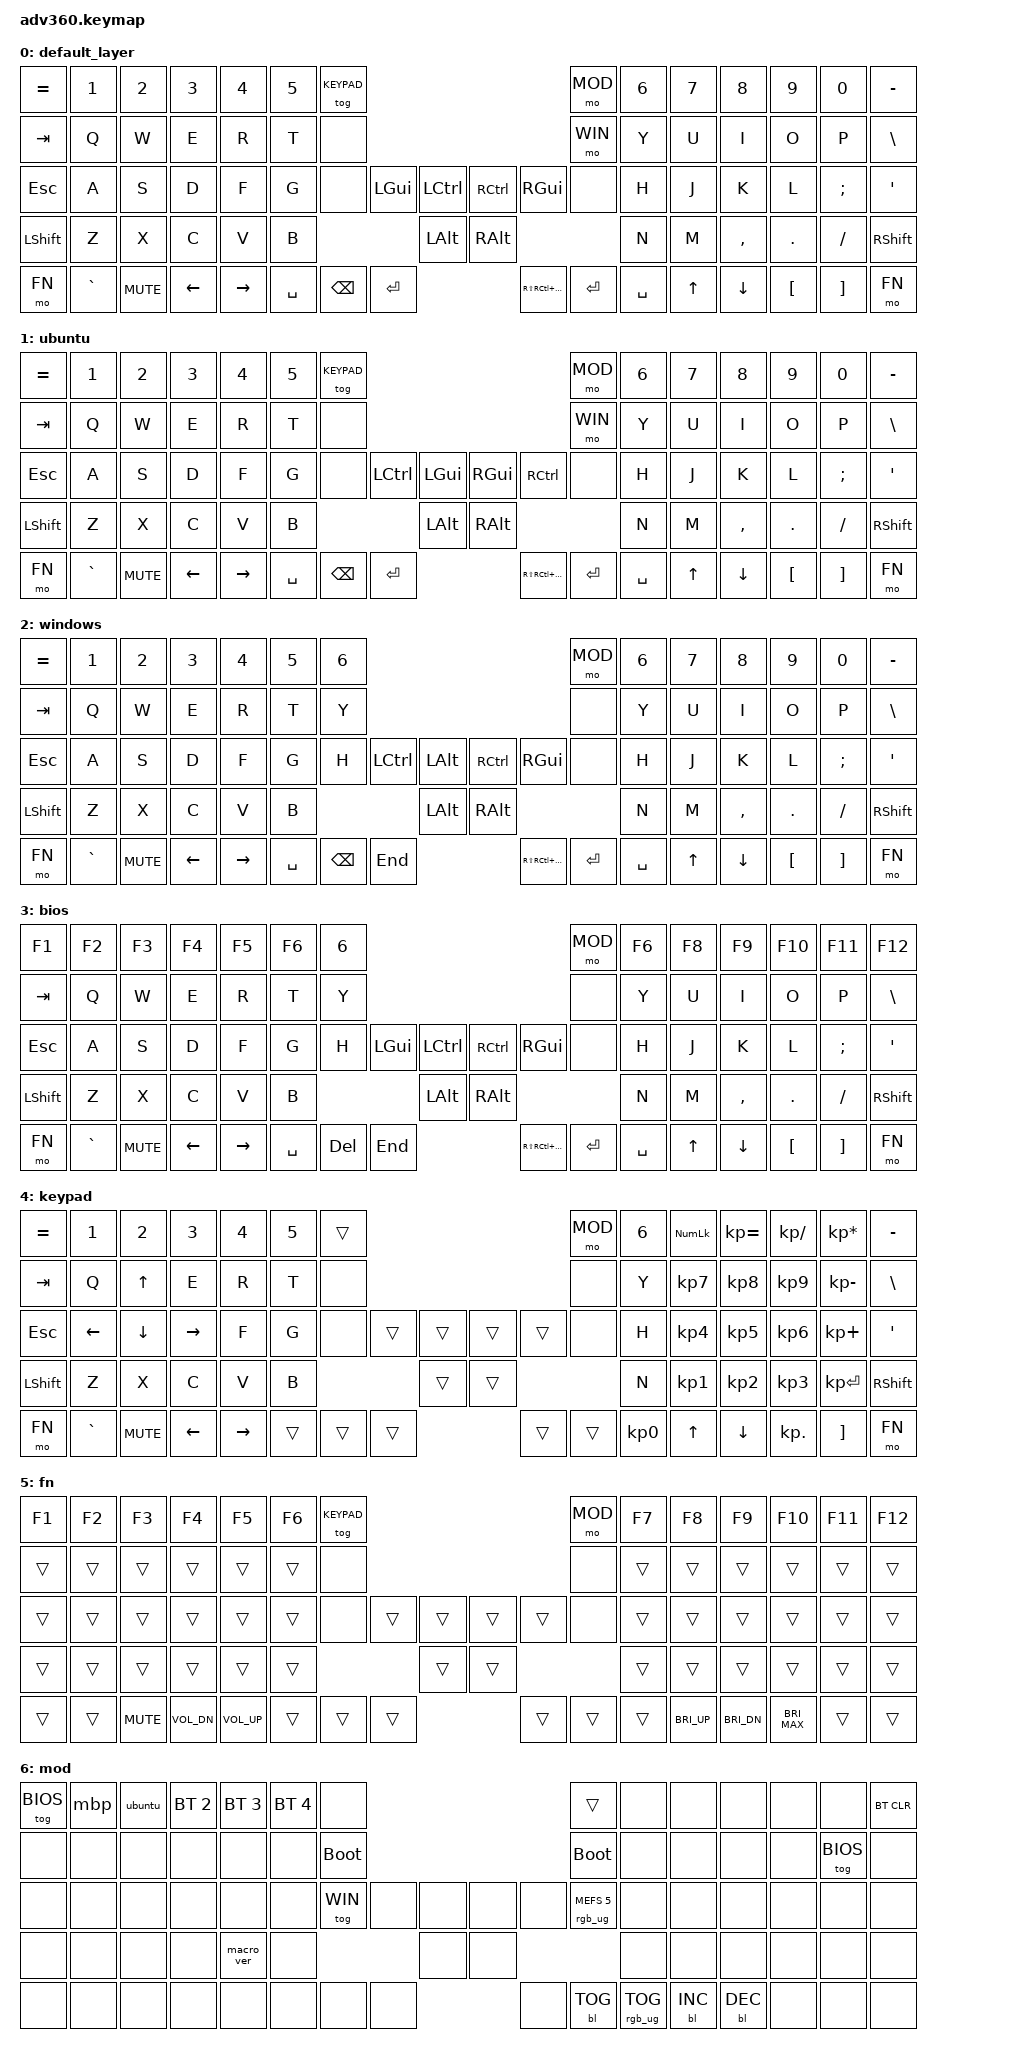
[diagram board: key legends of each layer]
#include <behaviors.dtsi>
#include <dt-bindings/zmk/keys.h>
#include <dt-bindings/zmk/bt.h>
#include <dt-bindings/zmk/rgb.h>
#include <dt-bindings/zmk/backlight.h>


#define DEFAULT 0
#define UBUNTU  1
#define WIN     2
#define BIOS    3
#define KEYPAD  4
#define FN      5
#define MOD     6

#define HYP     RS(RC(RA(RGUI)))

/ {
    behaviors {
      #include "macros.dtsi"
      #include "version.dtsi"
      #ifndef VERSION_MACRO
      macro_ver: macro_ver {
        compatible = "zmk,behavior-macro";
        label = "macro_version";
        #binding-cells = <0>;
        bindings = <&kp RET>;
      };
      #endif

      hm: homerow_mods {
          compatible = "zmk,behavior-hold-tap";
          label = "HOMEROW_MODS";
          #binding-cells = <2>;
          tapping-term-ms = <200>;
          quick_tap_ms = <175>;
          flavor = "tap-preferred";
          bindings = <&kp>, <&kp>;
      };
    };


  keymap {
    compatible = "zmk,keymap";

    default_layer {
      bindings = <
        &kp EQUAL &kp N1    &kp N2      &kp N3   &kp N4     &kp N5 &tog KEYPAD                                                          &mo MOD &kp N6 &kp N7 &kp N8    &kp N9   &kp N0   &kp MINUS
        &kp TAB   &kp Q     &kp W       &kp E    &kp R      &kp T  &none                                                                &mo WIN &kp Y  &kp U  &kp I     &kp O    &kp P    &kp BSLH
        &kp ESC   &kp A     &kp S       &kp D    &kp F      &kp G  &none           &kp LGUI  &kp LCTRL  &kp RCTRL  &kp RGUI             &none   &kp H  &kp J  &kp K     &kp L    &kp SEMI &kp SQT
        &kp LSHFT &kp Z     &kp X       &kp C    &kp V      &kp B                            &kp LALT   &kp RALT                                &kp N  &kp M  &kp COMMA &kp DOT  &kp FSLH &kp RSHFT
        &mo FN    &kp GRAVE &kp C_MUTE  &kp LEFT &kp RIGHT               &kp SPACE &kp BSPC  &kp ENTER  &kp HYP    &kp ENTER &kp SPACE                 &kp UP &kp DOWN  &kp LBKT &kp RBKT &mo FN
      >;
    };
    ubuntu {
      bindings = <
        &kp EQUAL &kp N1    &kp N2      &kp N3   &kp N4     &kp N5 &tog KEYPAD                                                          &mo MOD &kp N6 &kp N7 &kp N8    &kp N9   &kp N0   &kp MINUS
        &kp TAB   &kp Q     &kp W       &kp E    &kp R      &kp T  &none                                                                &mo WIN &kp Y  &kp U  &kp I     &kp O    &kp P    &kp BSLH
        &kp ESC   &kp A     &kp S       &kp D    &kp F      &kp G  &none            &kp LCTRL &kp LGUI   &kp RGUI   &kp RCTRL            &none   &kp H  &kp J  &kp K     &kp L    &kp SEMI &kp SQT
        &kp LSHFT &kp Z     &kp X       &kp C    &kp V      &kp B                             &kp LALT   &kp RALT                                &kp N  &kp M  &kp COMMA &kp DOT  &kp FSLH &kp RSHFT
        &mo FN    &kp GRAVE &kp C_MUTE  &kp LEFT &kp RIGHT                &kp SPACE &kp BSPC  &kp ENTER  &kp HYP    &kp ENTER &kp SPACE                 &kp UP &kp DOWN  &kp LBKT &kp RBKT &mo FN
      >;
    };
    windows {
      bindings = <
        &kp EQUAL &kp N1    &kp N2     &kp N3   &kp N4     &kp N5 &kp 6                                                                   &mo MOD &kp N6 &kp N7 &kp N8    &kp N9   &kp N0   &kp MINUS
        &kp TAB   &kp Q     &kp W      &kp E    &kp R      &kp T  &kp Y                                                                   &none   &kp Y  &kp U  &kp I     &kp O    &kp P    &kp BSLH
        &kp ESC   &kp A     &kp S      &kp D    &kp F      &kp G  &kp H              &kp LCTRL &kp LALT   &kp RCTRL  &kp RGUI             &none   &kp H  &kp J  &kp K     &kp L    &kp SEMI &kp SQT
        &kp LSHFT &kp Z     &kp X      &kp C    &kp V      &kp B                               &kp LALT   &kp RALT                                &kp N  &kp M  &kp COMMA &kp DOT  &kp FSLH &kp RSHFT
        &mo FN    &kp GRAVE &kp C_MUTE &kp LEFT &kp RIGHT                &kp SPACE   &kp BSPC  &kp END    &kp HYP    &kp ENTER &kp SPACE                 &kp UP &kp DOWN  &kp LBKT &kp RBKT &mo FN
      >;
    };
    bios {
      bindings = <
        &kp F1    &kp F2    &kp F3     &kp F4   &kp F5     &kp F6 &kp 6                                                               &mo MOD &kp F6 &kp F8 &kp F9    &kp F10   &kp F11  &kp F12
        &kp TAB   &kp Q     &kp W      &kp E    &kp R      &kp T  &kp Y                                                               &none   &kp Y  &kp U  &kp I     &kp O     &kp P    &kp BSLH
        &kp ESC   &kp A     &kp S      &kp D    &kp F      &kp G  &kp H              &kp LGUI  &kp LCTRL  &kp RCTRL  &kp RGUI         &none   &kp H  &kp J  &kp K     &kp L     &kp SEMI &kp SQT
        &kp LSHFT &kp Z     &kp X      &kp C    &kp V      &kp B                               &kp LALT   &kp RALT                            &kp N  &kp M  &kp COMMA &kp DOT   &kp FSLH &kp RSHFT
        &mo FN    &kp GRAVE &kp C_MUTE &kp LEFT &kp RIGHT                &kp SPACE   &kp DEL   &kp END    &kp HYP    &kp ENTER &kp SPACE             &kp UP &kp DOWN  &kp LBKT  &kp RBKT &mo FN
      >;
    };
    keypad {
      bindings = <
        &kp EQUAL &kp N1    &kp N2     &kp N3       &kp N4     &kp N5 &trans                                                              &mo MOD     &kp N6 &kp KP_NUM &kp KP_EQUAL &kp KP_DIVIDE &kp KP_MULTIPLY &kp MINUS
        &kp TAB   &kp Q     &kp UP     &kp E        &kp R      &kp T  &none                                                               &none       &kp Y  &kp KP_N7  &kp KP_N8    &kp KP_N9     &kp KP_MINUS    &kp BSLH
        &kp ESC   &kp LEFT  &kp DOWN   &kp RIGHT    &kp F      &kp G  &none           &trans   &trans  &trans  &trans                     &none       &kp H  &kp KP_N4  &kp KP_N5    &kp KP_N6     &kp KP_PLUS     &kp SQT
        &kp LSHFT &kp Z     &kp X      &kp C        &kp V      &kp B                           &trans  &trans                                         &kp N  &kp KP_N1  &kp KP_N2    &kp KP_N3     &kp KP_ENTER    &kp RSHFT
        &mo FN    &kp GRAVE &kp C_MUTE &kp LEFT     &kp RIGHT                    &trans &trans &trans  &trans  &trans   &kp KP_N0                            &kp UP     &kp DOWN     &kp KP_DOT    &kp RBKT        &mo FN
      >;
    };
    fn {
      bindings = <
        &kp F1 &kp F2 &kp F3     &kp F4       &kp F5       &kp F6  &tog KEYPAD                                                                      &mo MOD &kp F7 &kp F8       &kp F9       &kp F10        &kp F11 &kp F12
        &trans &trans &trans     &trans       &trans       &trans  &none                                                                            &none   &trans &trans       &trans       &trans         &trans  &trans
        &trans &trans &trans     &trans       &trans       &trans  &none                          &trans &trans  &trans &trans                      &none   &trans &trans       &trans       &trans         &trans  &trans
        &trans &trans &trans     &trans       &trans       &trans                                        &trans  &trans                                     &trans &trans       &trans       &trans         &trans  &trans
        &trans &trans &kp C_MUTE &kp C_VOL_DN &kp C_VOL_UP                                 &trans &trans &trans  &trans &trans &trans                              &kp C_BRI_UP &kp C_BRI_DN &kp C_BRI_MAX  &trans  &trans
      >;
    };
    mod {
      bindings = <
        &tog BIOS  &mbp     &ubuntu   &bt BT_SEL 2 &bt BT_SEL 3 &bt BT_SEL 4 &none                                                                  &trans                 &none        &none        &none        &none &none     &bt BT_CLR
        &none      &none    &none     &none        &none        &none        &bootloader                                                            &bootloader            &none        &none        &none        &none &tog BIOS &none
        &none      &none    &none     &none        &none        &none        &tog WIN                &none &none &none &none                        &rgb_ug RGB_MEFS_CMD 5 &none        &none        &none        &none &none     &none
        &none      &none    &none     &none        &macro_ver   &none                                      &none &none                                                     &none        &none        &none        &none &none     &none
        &none      &none    &none     &none        &none                                       &none &none &none &none &bl BL_TOG &rgb_ug RGB_TOG                                       &bl BL_INC   &bl BL_DEC   &none &none     &none
      >;
    };
  };
};
